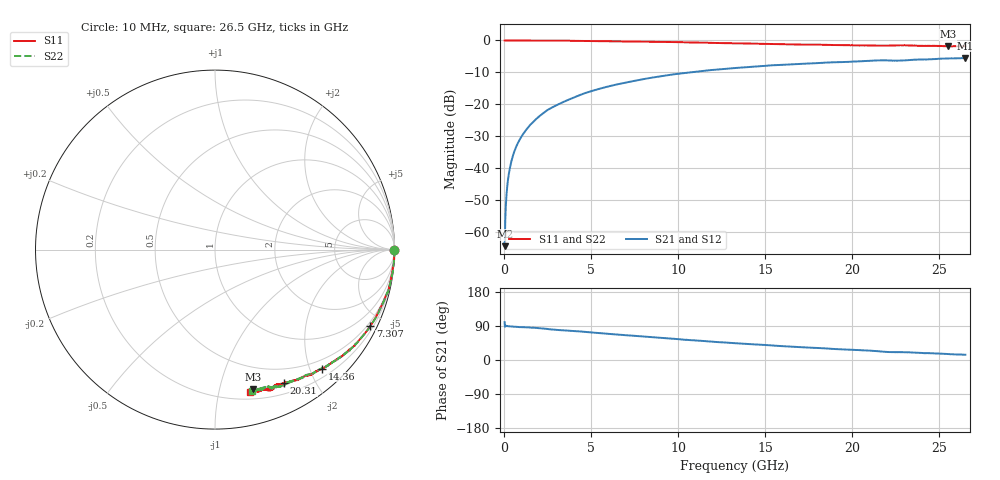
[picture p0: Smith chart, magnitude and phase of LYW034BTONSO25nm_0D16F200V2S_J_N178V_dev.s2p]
!Keysight Technologies,N5222B,MY61253708,A.15.00.15
!Date: Wednesday, June 19, 2024 10:29:26
!Correction: S11(C  2-Port  )
!S21(C  2-Port  )
!S12(C  2-Port  )
!S22(C  2-Port  )
!S2P File: Measurements: S11, S21, S12, S22:
# Hz S  RI  R 50
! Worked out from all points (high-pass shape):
!   2651 points, 10 MHz to 26.5 GHz, reference 50 ohm
!   highest |S21| = -5.46 dB at 26.5 GHz (marker M1); lowest = -64.3 dB at 20 MHz (marker M2)
!   |S21| within 3 dB of the highest: 13.63269 GHz to 13.67463 GHz (41.93 MHz wide, 0.307 % of centre); 13.69 GHz to end of sweep
!   lowest |S11| = -1.9 dB at 25.5 GHz (marker M3), VSWR 9.32, Z = 14.3 - j63.6 ohm
!   |S11| at or under -10 dB: nowhere
!   |S22| runs from -1.8 to 0.0 dB; largest |S21 - S12| = 0.0067
!   S11 on the Smith chart (normalised r, x): 10 MHz: open; 7.307 GHz: 0.35, -4.26; 14.36 GHz: 0.34, -2.21; 20.31 GHz: 0.32, -1.59; 26.5 GHz: 0.26, -1.24
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1e7  0.9987 -0.00332  -0.000116 0.000672  8.29e-05 -6.81e-06  0.9983 -0.00216
1.999623e7  0.9999 -0.00237  -2.18e-05 0.000608  8.94e-05 0.000729  1 -0.00234
1.499472e8  1 -0.0106  3.27e-05 0.00485  4.46e-05 0.00486  0.9996 -0.01
1.799358e8  1 -0.0117  6.44e-05 0.00586  7.15e-05 0.00584  0.9996 -0.0112
2.29917e8  0.9997 -0.0155  0.000129 0.00744  9.64e-05 0.00746  0.9993 -0.0147
3.19883e8  0.9998 -0.021  0.000225 0.0103  0.000175 0.0104  0.9994 -0.0201
4.398377e8  0.9991 -0.0293  0.0004 0.0142  0.000413 0.0143  0.9993 -0.0285
5.997774e8  0.9987 -0.0389  0.000769 0.0194  0.000745 0.0194  0.999 -0.0386
7.797094e8  0.9984 -0.0508  0.00126 0.0251  0.00127 0.0252  0.998 -0.0503
1.079596e9  0.9972 -0.0713  0.00211 0.0345  0.00215 0.0346  0.9964 -0.0696
1.419468e9  0.991 -0.0941  0.00306 0.0456  0.00311 0.0456  0.9938 -0.0909
2.319128e9  0.9827 -0.1483  0.00936 0.0757  0.00946 0.0758  0.984 -0.1488
4.428332e9  0.945 -0.2757  0.0367 0.1387  0.0369 0.139  0.9466 -0.2731
7.307245e9  0.8643 -0.4266  0.0989 0.2066  0.0999 0.2066  0.8661 -0.4255
8.846664e9  0.8103 -0.496  0.1401 0.2334  0.1409 0.2334  0.8116 -0.4948
1.3255e10  0.6387 -0.6379  0.2647 0.2596  0.2663 0.2589  0.6416 -0.6371
1.436458e10  0.5978 -0.6626  0.2937 0.2569  0.2947 0.2561  0.5999 -0.6595
1.767333e10  0.4691 -0.7206  0.3703 0.2346  0.373 0.2327  0.4782 -0.7182
2.031234e10  0.3838 -0.7454  0.4215 0.2088  0.424 0.2052  0.3959 -0.7456
2.209166e10  0.3342 -0.757  0.4539 0.1747  0.455 0.1718  0.3266 -0.7629
2.550038e10  0.2143 -0.7772  0.504 0.1394  0.5049 0.1392  0.2338 -0.7792
2.65e10  0.195 -0.7922  0.5177 0.1286  0.5165 0.1248  0.2073 -0.7898
